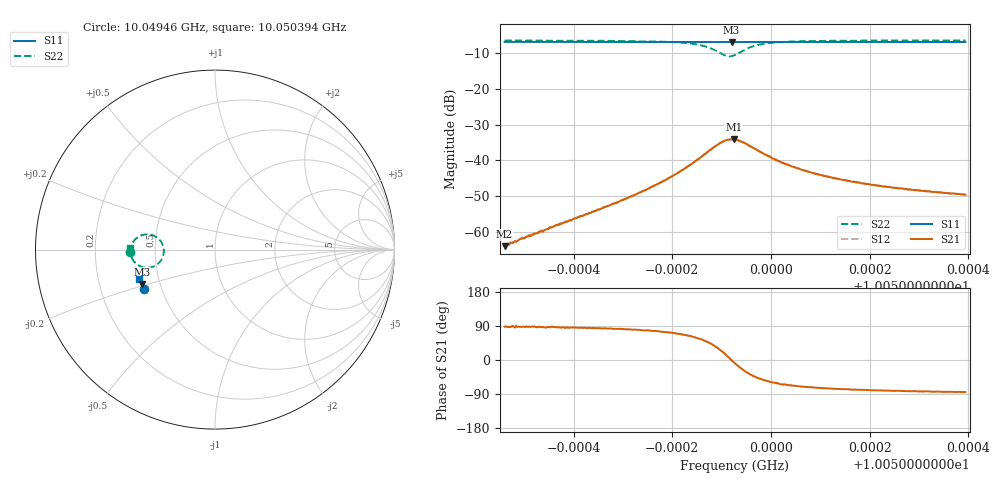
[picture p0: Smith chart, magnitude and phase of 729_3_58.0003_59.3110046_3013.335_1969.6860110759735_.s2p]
#  HZ  S  RI  R  50.00
! Rohde & Schwarz Vector Network Analyzer
! Rohde-Schwarz,ZNB20-2Port,1311601062101988,3.16
! Created: UTC 3/21/2024, 1:23:01 AM
! freq[Hz]  re:S11  im:S11  re:S21  im:S21  re:S12  im:S12  re:S22  im:S22
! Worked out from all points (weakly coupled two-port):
!   401 points, 10.04946 GHz to 10.050394 GHz, reference 50 ohm
!   highest |S21| = -34.03 dB at 10.049925 GHz (marker M1); lowest = -63.9 dB at 10.04946 GHz (marker M2)
!   lowest |S11| = -6.9 dB at 10.04992 GHz (marker M3), VSWR 2.64, Z = 19.7 - j9.62 ohm
!   |S11| at or under -10 dB: nowhere
!   |S22| runs from -10.9 to -6.5 dB; largest |S21 - S12| = 0.0014
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1.00494603e10  -0.396 -0.2218  2.48e-05 0.000634  -3.09e-05 0.000647  -0.4738 -0.0143
1.00496167e10  -0.4006 -0.2125  0.00014 0.00166  4.01e-05 0.0017  -0.4712 0.00563
1.00496494e10  -0.4017 -0.2105  0.000221 0.00205  9.54e-05 0.00202  -0.4698 0.0112
1.00497217e10  -0.4036 -0.2062  0.000549 0.0032  0.000386 0.00325  -0.4648 0.0269
1.00497731e10  -0.4051 -0.203  0.00122 0.00464  0.000957 0.00473  -0.4563 0.0429
1.00498081e10  -0.406 -0.2007  0.0022 0.0061  0.00191 0.00626  -0.444 0.0581
1.00498408e10  -0.4066 -0.1985  0.00431 0.00802  0.0039 0.00826  -0.4205 0.075
1.00498618e10  -0.407 -0.1971  0.00694 0.00932  0.00651 0.00965  -0.3925 0.0843
1.00498782e10  -0.407 -0.1961  0.0103 0.00969  0.00987 0.0102  -0.3594 0.0834
1.00499015e10  -0.4069 -0.1948  0.0169 0.00696  0.0165 0.00749  -0.3026 0.0469
1.00499108e10  -0.407 -0.1944  0.0191 0.00376  0.0186 0.00485  -0.2878 0.0156
1.00499202e10  -0.407 -0.1942  0.0198 -0.000119  0.0195 0.00102  -0.2857 -0.0206
1.00499248e10  -0.4072 -0.1943  0.0198 -0.00218  0.0196 -0.000791  -0.29 -0.0385
1.00499272e10  -0.4072 -0.1941  0.0192 -0.00293  0.0194 -0.00162  -0.2932 -0.0467
1.00499365e10  -0.4076 -0.1941  0.0176 -0.00608  0.0181 -0.00496  -0.3127 -0.0743
1.00499505e10  -0.4083 -0.1935  0.0143 -0.00903  0.0149 -0.00817  -0.3493 -0.0965
1.00499809e10  -0.4096 -0.1918  0.0082 -0.0101  0.00878 -0.00949  -0.4102 -0.0956
1.00500276e10  -0.4114 -0.1891  0.00395 -0.00806  0.00442 -0.00792  -0.449 -0.069
1.00500836e10  -0.413 -0.1856  0.00206 -0.0064  0.00241 -0.00631  -0.4642 -0.0456
1.00501606e10  -0.415 -0.1807  0.00108 -0.00501  0.00141 -0.00497  -0.471 -0.0254
1.005024e10  -0.4171 -0.1759  0.000665 -0.00419  0.000914 -0.00416  -0.4736 -0.0117
1.00503941e10  -0.4207 -0.1662  0.000307 -0.00331  0.000524 -0.00333  -0.4749 0.00725
